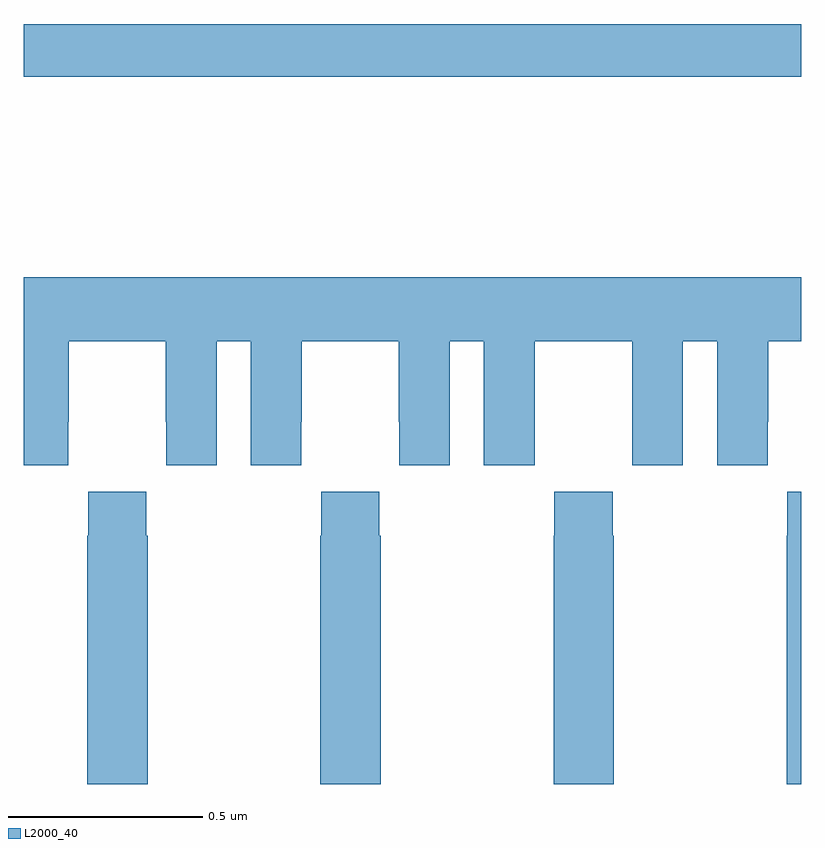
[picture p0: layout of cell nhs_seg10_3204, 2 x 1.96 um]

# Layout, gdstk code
import gdstk
lib = gdstk.Library(unit=1e-6, precision=1e-09)
def R(c, l, rs):  # rectangles x0, y0, x1, y1
    for r in rs: c.add(gdstk.rectangle(r[:2], r[2:], *l))
def P(c, l, *ps):  # polygons
    for p in ps: c.add(gdstk.Polygon(p, *l))
L2000_40 = (2000, 40)

nhs_seg10_3204 = lib.new_cell('nhs_seg10_3204')
R(nhs_seg10_3204, L2000_40, [(150,1310.32,152,1310.456)])
P(nhs_seg10_3204, L2000_40, [(150,1309.32),(150.114,1309.32),(150.114,1309.432),(150.115,1309.432),(150.115,1309.64),(150.365,1309.64),(150.365,1309.432),(150.366,1309.432),(150.366,1309.32),(150.496,1309.32),(150.496,1309.64),(150.584,1309.64),(150.584,1309.32),(150.714,1309.32),(150.714,1309.432),(150.715,1309.432),(150.715,1309.64),(150.965,1309.64),(150.965,1309.432),(150.966,1309.432),(150.966,1309.32),(151.096,1309.32),(151.096,1309.64),(151.184,1309.64),(151.184,1309.32),(151.314,1309.32),(151.314,1309.432),(151.315,1309.432),(151.315,1309.64),(151.565,1309.64),(151.565,1309.432),(151.566,1309.432),(151.566,1309.32),(151.696,1309.32),(151.696,1309.64),(151.784,1309.64),(151.784,1309.32),(151.914,1309.32),(151.914,1309.432),(151.915,1309.432),(151.915,1309.64),(152,1309.64),(152,1309.804),(150,1309.804)],
  [(152,1309.252),(151.965,1309.252),(151.965,1309.139),(151.963,1309.139),(151.963,1308.5),(152,1308.5)],
  [(151.518,1309.139),(151.515,1309.139),(151.515,1309.252),(151.365,1309.252),(151.365,1309.139),(151.363,1309.139),(151.363,1308.5),(151.518,1308.5)],
  [(150.918,1309.139),(150.915,1309.139),(150.915,1309.252),(150.765,1309.252),(150.765,1309.139),(150.763,1309.139),(150.763,1308.5),(150.918,1308.5)],
  [(150.318,1309.139),(150.315,1309.139),(150.315,1309.252),(150.165,1309.252),(150.165,1309.139),(150.163,1309.139),(150.163,1308.5),(150.318,1308.5)])

lib.write_gds('nhs_seg10_3204.gds')
